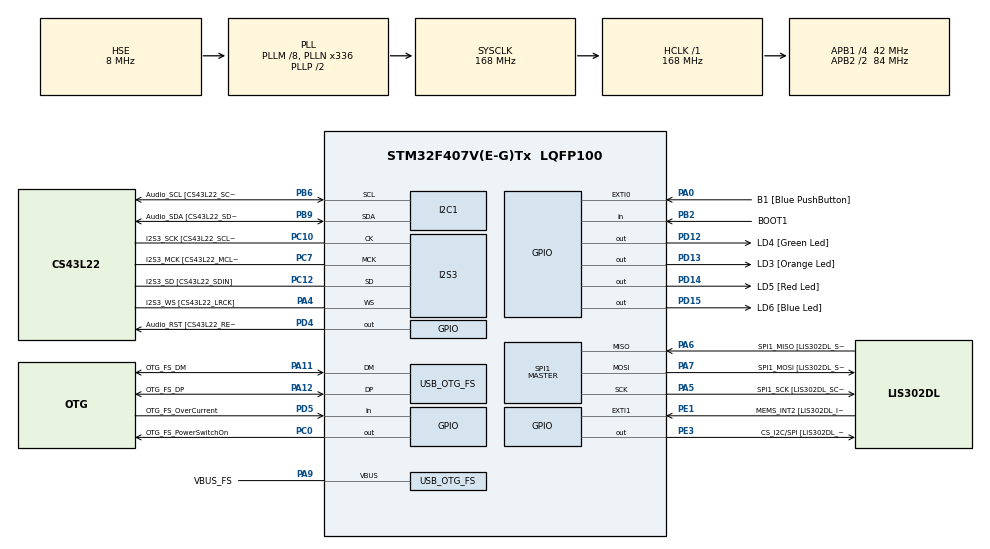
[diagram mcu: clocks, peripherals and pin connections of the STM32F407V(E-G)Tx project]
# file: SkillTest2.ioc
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I2S3.AudioFreq-Half_Duplex_Master=I2S_AUDIOFREQ_96K
I2S3.ErrorAudioFreq=-2.34 %
I2S3.ErrorAudioFreq-Half_Duplex_Master=0.8 %
I2S3.FullDuplexMode=I2S_FULLDUPLEXMODE_DISABLE
I2S3.Instance=SPI$Index
I2S3.RealAudioFreq=93.75 KHz
I2S3.RealAudioFreq-Half_Duplex_Master=96.774 KHz
I2S3.VirtualMode=I2S_MODE_MASTER
Mcu.Family=STM32F4
Mcu.Name=STM32F407V(E-G)Tx
Mcu.Package=LQFP100
NVIC.OTG_FS_IRQn=true\:0\:0\:false\:false\:true\:true\:true
NVIC.PriorityGroup=NVIC_PRIORITYGROUP_0
PA0-WKUP.GPIO_Label=B1 [Blue PushButton]
PA0-WKUP.GPIO_ModeDefaultEXTI=GPIO_MODE_EVT_RISING
PA0-WKUP.GPIO_PuPd=GPIO_NOPULL
PA0-WKUP.Signal=GPXTI0
PA10.GPIO_Label=OTG_FS_ID
PA10.GPIO_Mode=GPIO_MODE_AF_PP
PA10.GPIO_PuPd=GPIO_NOPULL
PA10.GPIO_Speed=GPIO_SPEED_FREQ_LOW
PA10.Signal=USB_OTG_FS_ID
PA11.GPIO_Label=OTG_FS_DM
PA11.GPIO_Mode=GPIO_MODE_AF_PP
PA11.GPIO_PuPd=GPIO_NOPULL
PA11.GPIO_Speed=GPIO_SPEED_FREQ_LOW
PA11.Mode=Host_Only
PA11.Signal=USB_OTG_FS_DM
PA12.GPIO_Label=OTG_FS_DP
PA12.GPIO_Mode=GPIO_MODE_AF_PP
PA12.GPIO_PuPd=GPIO_NOPULL
PA12.GPIO_Speed=GPIO_SPEED_FREQ_LOW
PA12.Mode=Host_Only
PA12.Signal=USB_OTG_FS_DP
PA13.GPIO_Label=SWDIO
PA13.Mode=Serial_Wire
PA13.Signal=SYS_JTMS-SWDIO
PA14.GPIO_Label=SWCLK
PA14.Mode=Serial_Wire
PA14.Signal=SYS_JTCK-SWCLK
PA4.GPIO_Label=I2S3_WS [CS43L22_LRCK]
PA4.GPIO_Mode=GPIO_MODE_AF_PP
PA4.GPIO_PuPd=GPIO_NOPULL
PA4.GPIO_Speed=GPIO_SPEED_FREQ_LOW
PA4.Mode=Half_Duplex_Master
PA4.Signal=I2S3_WS
PA5.GPIO_Label=SPI1_SCK [LIS302DL_SCL/SPC]
PA5.GPIO_Mode=GPIO_MODE_AF_PP
PA5.GPIO_PuPd=GPIO_NOPULL
PA5.GPIO_Speed=GPIO_SPEED_FREQ_LOW
PA5.Mode=Full_Duplex_Master
PA5.Signal=SPI1_SCK
PA6.GPIO_Label=SPI1_MISO [LIS302DL_SDO]
PA6.GPIO_Mode=GPIO_MODE_AF_PP
PA6.GPIO_PuPd=GPIO_NOPULL
PA6.GPIO_Speed=GPIO_SPEED_FREQ_LOW
PA6.Mode=Full_Duplex_Master
PA6.Signal=SPI1_MISO
PA7.GPIO_Label=SPI1_MOSI [LIS302DL_SDA/SDI/SDO]
PA7.GPIO_Mode=GPIO_MODE_AF_PP
PA7.GPIO_PuPd=GPIO_NOPULL
PA7.GPIO_Speed=GPIO_SPEED_FREQ_LOW
PA7.Mode=Full_Duplex_Master
PA7.Signal=SPI1_MOSI
PA9.GPIO_Label=VBUS_FS
PA9.GPIO_Mode=GPIO_MODE_INPUT
PA9.GPIO_PuPd=GPIO_NOPULL
PA9.Mode=Activate_VBUS
PA9.Signal=USB_OTG_FS_VBUS
PB10.GPIO_Label=CLK_IN [MP45DT02_CLK]
PB10.GPIO_Mode=GPIO_MODE_AF_PP
PB10.GPIO_PuPd=GPIO_NOPULL
PB10.GPIO_Speed=GPIO_SPEED_FREQ_LOW
PB10.Signal=I2S2_CK
PB2.GPIO_Label=BOOT1
PB2.GPIO_Mode=GPIO_MODE_INPUT
PB2.GPIO_PuPd=GPIO_NOPULL
PB2.Signal=GPIO_Input
PB3.GPIO_Label=SWO
PB3.Signal=SYS_JTDO-SWO
PB6.GPIO_Label=Audio_SCL [CS43L22_SCL]
PB6.GPIO_Mode=GPIO_MODE_AF_OD
PB6.GPIO_PuPd=GPIO_NOPULL
PB6.GPIO_Speed=GPIO_SPEED_FREQ_LOW
PB6.Mode=I2C
PB6.Signal=I2C1_SCL
PB9.GPIO_Label=Audio_SDA [CS43L22_SDA]
PB9.GPIO_Mode=GPIO_MODE_AF_OD
PB9.GPIO_PuPd=GPIO_NOPULL
PB9.GPIO_Speed=GPIO_SPEED_FREQ_LOW
PB9.Mode=I2C
PB9.Signal=I2C1_SDA
PC0.GPIO_Label=OTG_FS_PowerSwitchOn
PC0.GPIO_PuPd=GPIO_NOPULL
PC0.GPIO_Speed=GPIO_SPEED_FREQ_LOW
PC0.PinState=GPIO_PIN_SET
PC0.Signal=GPIO_Output
PC10.GPIO_Label=I2S3_SCK [CS43L22_SCLK]
PC10.GPIO_Mode=GPIO_MODE_AF_PP
PC10.GPIO_PuPd=GPIO_NOPULL
PC10.GPIO_Speed=GPIO_SPEED_FREQ_LOW
PC10.Mode=Half_Duplex_Master
PC10.Signal=I2S3_CK
PC12.GPIO_Label=I2S3_SD [CS43L22_SDIN]
PC12.GPIO_Mode=GPIO_MODE_AF_PP
PC12.GPIO_PuPd=GPIO_NOPULL
PC12.GPIO_Speed=GPIO_SPEED_FREQ_LOW
PC12.Mode=Half_Duplex_Master
PC12.Signal=I2S3_SD
PC14-OSC32_IN.GPIO_Label=PC14-OSC32_IN
PC14-OSC32_IN.Mode=LSE-External-Oscillator
PC14-OSC32_IN.Signal=RCC_OSC32_IN
PC15-OSC32_OUT.GPIO_Label=PC15-OSC32_OUT
PC15-OSC32_OUT.Mode=LSE-External-Oscillator
PC15-OSC32_OUT.Signal=RCC_OSC32_OUT
PC3.GPIO_Label=PDM_OUT [MP45DT02_DOUT]
PC3.GPIO_Mode=GPIO_MODE_AF_PP
PC3.GPIO_PuPd=GPIO_NOPULL
PC3.GPIO_Speed=GPIO_SPEED_FREQ_LOW
PC3.Signal=I2S2_SD
PC7.GPIO_Label=I2S3_MCK [CS43L22_MCLK]
PC7.GPIO_Mode=GPIO_MODE_AF_PP
PC7.GPIO_PuPd=GPIO_NOPULL
PC7.GPIO_Speed=GPIO_SPEED_FREQ_LOW
PC7.Mode=Master_Clock_Activated
PC7.Signal=I2S3_MCK
PD12.GPIO_Label=LD4 [Green Led]
PD12.GPIO_PuPd=GPIO_NOPULL
PD12.GPIO_Speed=GPIO_SPEED_FREQ_LOW
PD12.Signal=GPIO_Output
PD13.GPIO_Label=LD3 [Orange Led]
PD13.GPIO_PuPd=GPIO_NOPULL
PD13.GPIO_Speed=GPIO_SPEED_FREQ_LOW
PD13.Signal=GPIO_Output
PD14.GPIO_Label=LD5 [Red Led]
PD14.GPIO_PuPd=GPIO_NOPULL
PD14.GPIO_Speed=GPIO_SPEED_FREQ_LOW
PD14.Signal=GPIO_Output
PD15.GPIO_Label=LD6 [Blue Led]
PD15.GPIO_PuPd=GPIO_NOPULL
PD15.GPIO_Speed=GPIO_SPEED_FREQ_LOW
PD15.Signal=GPIO_Output
PD4.GPIO_Label=Audio_RST [CS43L22_RESET]
PD4.GPIO_PuPd=GPIO_NOPULL
PD4.GPIO_Speed=GPIO_SPEED_FREQ_LOW
PD4.Signal=GPIO_Output
PD5.GPIO_Label=OTG_FS_OverCurrent
PD5.GPIO_Mode=GPIO_MODE_INPUT
PD5.GPIO_PuPd=GPIO_NOPULL
PD5.Signal=GPIO_Input
PE1.GPIO_Label=MEMS_INT2 [LIS302DL_INT2]
PE1.GPIO_ModeDefaultEXTI=GPIO_MODE_EVT_RISING
PE1.GPIO_PuPd=GPIO_NOPULL
PE1.Signal=GPXTI1
PE3.GPIO_Label=CS_I2C/SPI [LIS302DL_CS_I2C/SPI]
PE3.GPIO_PuPd=GPIO_NOPULL
PE3.GPIO_Speed=GPIO_SPEED_FREQ_LOW
PE3.Signal=GPIO_Output
PH0-OSC_IN.GPIO_Label=PH0-OSC_IN
PH0-OSC_IN.Mode=HSE-External-Oscillator
PH0-OSC_IN.Signal=RCC_OSC_IN
PH1-OSC_OUT.GPIO_Label=PH1-OSC_OUT
PH1-OSC_OUT.Mode=HSE-External-Oscillator
PH1-OSC_OUT.Signal=RCC_OSC_OUT
ProjectManager.HeapSize=0x200
ProjectManager.StackSize=0x400
ProjectManager.TargetToolchain=STM32CubeIDE
RCC.48MHZClocksFreq_Value=48000000
RCC.AHBFreq_Value=168000000
RCC.APB1CLKDivider=RCC_HCLK_DIV4
RCC.APB1Freq_Value=42000000
RCC.APB1TimFreq_Value=84000000
RCC.APB2CLKDivider=RCC_HCLK_DIV2
RCC.APB2Freq_Value=84000000
RCC.APB2TimFreq_Value=168000000
RCC.CortexFreq_Value=168000000
RCC.HCLKFreq_Value=168000000
RCC.HSE_VALUE=8000000
RCC.HSI_VALUE=16000000
RCC.PLLM=8
RCC.PLLN=336
RCC.PLLQ=7
RCC.SYSCLKFreq_VALUE=168000000
RCC.SYSCLKSource=RCC_SYSCLKSOURCE_PLLCLK
RCC.VCOOutputFreq_Value=336000000
SPI1.BaudRatePrescaler-Full_Duplex_Master=SPI_BAUDRATEPRESCALER_2
SPI1.CalculateBaudRate-Full_Duplex_Master=42.0 MBits/s
SPI1.Direction=SPI_DIRECTION_2LINES
SPI1.Mode=SPI_MODE_MASTER
SPI1.Mode-Full_Duplex_Master=SPI_MODE_MASTER
SPI1.VirtualType=VM_MASTER
USB_HOST.BSP.number=1
USB_HOST.USBH_HandleTypeDef-CDC_FS=hUsbHostFS
USB_HOST.VirtualModeFS=Cdc
USB_HOST0.BSP.STBoard=false
USB_HOST0.BSP.api=Unknown
USB_HOST0.BSP.i2caddr=0
USB_HOST0.BSP.i2creg=0
USB_HOST0.BSP.instance=PC0
USB_HOST0.BSP.ip=GPIO
USB_HOST0.BSP.mode=Output
USB_HOST0.BSP.name=Drive_VBUS_FS
USB_HOST0.BSP.solution=PC0
USB_OTG_FS.VirtualMode=Host_Only
USB_OTG_FS.phy_itface=HCD_PHY_EMBEDDED
VP_USB_HOST_VS_USB_HOST_CDC_FS.Mode=CDC_FS
board=STM32F4DISCOVERY

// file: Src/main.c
/* USER CODE BEGIN Header */
/**
  ******************************************************************************
  * @file           : main.c
  * @brief          : Main program body
  ******************************************************************************
  * @attention
  *
  * <h2><center>&copy; Copyright (c) 2019 STMicroelectronics.
  * All rights reserved.</center></h2>
  *
  * This software component is licensed by ST under Ultimate Liberty license
  * SLA0044, the "License"; You may not use this file except in compliance with
  * the License. You may obtain a copy of the License at:
  *                             www.st.com/SLA0044
  *
  ******************************************************************************
  */
/* USER CODE END Header */

#include "main.h"
#include "usb_host.h"

I2C_HandleTypeDef hi2c1;

I2S_HandleTypeDef hi2s3;

SPI_HandleTypeDef hspi1;

void SystemClock_Config(void);
static void MX_GPIO_Init(void);
static void MX_I2C1_Init(void);
static void MX_I2S3_Init(void);
static void MX_SPI1_Init(void);
void MX_USB_HOST_Process(void);

int main(void)
{

  /* MCU Configuration--------------------------------------------------------*/

  /* Reset of all peripherals, Initializes the Flash interface and the Systick. */
  HAL_Init();

  /* Configure the system clock */
  SystemClock_Config();

  /* Initialize all configured peripherals */
  MX_GPIO_Init();
  MX_I2C1_Init();
  MX_I2S3_Init();
  MX_SPI1_Init();
  MX_USB_HOST_Init();
  /* USER CODE BEGIN 2 */
  int state = 0;
  int push = 0;
  int counter = 0;
  /* USER CODE END 2 */

  /* Infinite loop */
  while (1)
  {
    MX_USB_HOST_Process();

    /* USER CODE BEGIN 3 */
    if (!HAL_GPIO_ReadPin(GPIOA, GPIO_PIN_0) == HAL_OK) {
    	counter += 150;
		if (counter > 2000) {
//			state = 3;
			HAL_GPIO_WritePin(GPIOD, GPIO_PIN_12, 1);
			HAL_GPIO_WritePin(GPIOD, GPIO_PIN_13, 1);
			HAL_GPIO_WritePin(GPIOD, GPIO_PIN_14, 1);
			HAL_GPIO_WritePin(GPIOD, GPIO_PIN_15, 1);
			break;
		}
    } else {
    	counter = 0;
    }
    if (state == 0) {
    	HAL_GPIO_WritePin(GPIOD, GPIO_PIN_12, 1);
    	HAL_GPIO_WritePin(GPIOD, GPIO_PIN_13, 1);
    	HAL_GPIO_WritePin(GPIOD, GPIO_PIN_14, 1);
    	HAL_GPIO_WritePin(GPIOD, GPIO_PIN_15, 1);
    	HAL_Delay(50);
    	HAL_GPIO_WritePin(GPIOD, GPIO_PIN_12, 0);
    	HAL_GPIO_WritePin(GPIOD, GPIO_PIN_13, 0);
    	HAL_GPIO_WritePin(GPIOD, GPIO_PIN_14, 0);
    	HAL_GPIO_WritePin(GPIOD, GPIO_PIN_15, 0);
    	HAL_Delay(100);
    	if (HAL_GPIO_ReadPin(GPIOA, GPIO_PIN_0) == HAL_OK && !push) {
    		push = 1;
    	}
    	if (!HAL_GPIO_ReadPin(GPIOA, GPIO_PIN_0) == HAL_OK && push) {
    		push = 0;
    		state = 1;
    	}
    } else if (state == 1) {
    	HAL_GPIO_WritePin(GPIOD, GPIO_PIN_12, 1);
    	HAL_GPIO_WritePin(GPIOD, GPIO_PIN_13, 1);
    	HAL_GPIO_WritePin(GPIOD, GPIO_PIN_14, 1);
    	HAL_GPIO_WritePin(GPIOD, GPIO_PIN_15, 1);
    	HAL_Delay(100);
    	HAL_GPIO_WritePin(GPIOD, GPIO_PIN_12, 0);
    	HAL_GPIO_WritePin(GPIOD, GPIO_PIN_13, 0);
    	HAL_GPIO_WritePin(GPIOD, GPIO_PIN_14, 0);
    	HAL_GPIO_WritePin(GPIOD, GPIO_PIN_15, 0);
    	HAL_Delay(50);
    	if (HAL_GPIO_ReadPin(GPIOA, GPIO_PIN_0) == HAL_OK && !push) {
    	 	push = 1;
       	}
  	   	if (!HAL_GPIO_ReadPin(GPIOA, GPIO_PIN_0) == HAL_OK && push) {
    		push = 0;
     		state = 0;
     	}
    }
  }
  /* USER CODE END 3 */
}

void SystemClock_Config(void)
{
  RCC_OscInitTypeDef RCC_OscInitStruct = {0};
  RCC_ClkInitTypeDef RCC_ClkInitStruct = {0};
  RCC_PeriphCLKInitTypeDef PeriphClkInitStruct = {0};

  /** Configure the main internal regulator output voltage
  */
  __HAL_RCC_PWR_CLK_ENABLE();
  __HAL_PWR_VOLTAGESCALING_CONFIG(PWR_REGULATOR_VOLTAGE_SCALE1);
  /** Initializes the CPU, AHB and APB busses clocks
  */
  RCC_OscInitStruct.OscillatorType = RCC_OSCILLATORTYPE_HSE;
  RCC_OscInitStruct.HSEState = RCC_HSE_ON;
  RCC_OscInitStruct.PLL.PLLState = RCC_PLL_ON;
  RCC_OscInitStruct.PLL.PLLSource = RCC_PLLSOURCE_HSE;
  RCC_OscInitStruct.PLL.PLLM = 8;
  RCC_OscInitStruct.PLL.PLLN = 336;
  RCC_OscInitStruct.PLL.PLLP = RCC_PLLP_DIV2;
  RCC_OscInitStruct.PLL.PLLQ = 7;
  if (HAL_RCC_OscConfig(&RCC_OscInitStruct) != HAL_OK)
  {
    Error_Handler();
  }
  /** Initializes the CPU, AHB and APB busses clocks
  */
  RCC_ClkInitStruct.ClockType = RCC_CLOCKTYPE_HCLK|RCC_CLOCKTYPE_SYSCLK
                              |RCC_CLOCKTYPE_PCLK1|RCC_CLOCKTYPE_PCLK2;
  RCC_ClkInitStruct.SYSCLKSource = RCC_SYSCLKSOURCE_PLLCLK;
  RCC_ClkInitStruct.AHBCLKDivider = RCC_SYSCLK_DIV1;
  RCC_ClkInitStruct.APB1CLKDivider = RCC_HCLK_DIV4;
  RCC_ClkInitStruct.APB2CLKDivider = RCC_HCLK_DIV2;

  if (HAL_RCC_ClockConfig(&RCC_ClkInitStruct, FLASH_LATENCY_5) != HAL_OK)
  {
    Error_Handler();
  }
  PeriphClkInitStruct.PeriphClockSelection = RCC_PERIPHCLK_I2S;
  PeriphClkInitStruct.PLLI2S.PLLI2SN = 192;
  PeriphClkInitStruct.PLLI2S.PLLI2SR = 2;
  if (HAL_RCCEx_PeriphCLKConfig(&PeriphClkInitStruct) != HAL_OK)
  {
    Error_Handler();
  }
}

static void MX_I2C1_Init(void)
{

  hi2c1.Instance = I2C1;
  hi2c1.Init.ClockSpeed = 100000;
  hi2c1.Init.DutyCycle = I2C_DUTYCYCLE_2;
  hi2c1.Init.OwnAddress1 = 0;
  hi2c1.Init.AddressingMode = I2C_ADDRESSINGMODE_7BIT;
  hi2c1.Init.DualAddressMode = I2C_DUALADDRESS_DISABLE;
  hi2c1.Init.OwnAddress2 = 0;
  hi2c1.Init.GeneralCallMode = I2C_GENERALCALL_DISABLE;
  hi2c1.Init.NoStretchMode = I2C_NOSTRETCH_DISABLE;
  if (HAL_I2C_Init(&hi2c1) != HAL_OK)
  {
    Error_Handler();
  }

}

static void MX_I2S3_Init(void)
{

  hi2s3.Instance = SPI3;
  hi2s3.Init.Mode = I2S_MODE_MASTER_TX;
  hi2s3.Init.Standard = I2S_STANDARD_PHILIPS;
  hi2s3.Init.DataFormat = I2S_DATAFORMAT_16B;
  hi2s3.Init.MCLKOutput = I2S_MCLKOUTPUT_ENABLE;
  hi2s3.Init.AudioFreq = I2S_AUDIOFREQ_96K;
  hi2s3.Init.CPOL = I2S_CPOL_LOW;
  hi2s3.Init.ClockSource = I2S_CLOCK_PLL;
  hi2s3.Init.FullDuplexMode = I2S_FULLDUPLEXMODE_DISABLE;
  if (HAL_I2S_Init(&hi2s3) != HAL_OK)
  {
    Error_Handler();
  }

}

static void MX_SPI1_Init(void)
{

  /* SPI1 parameter configuration*/
  hspi1.Instance = SPI1;
  hspi1.Init.Mode = SPI_MODE_MASTER;
  hspi1.Init.Direction = SPI_DIRECTION_2LINES;
  hspi1.Init.DataSize = SPI_DATASIZE_8BIT;
  hspi1.Init.CLKPolarity = SPI_POLARITY_LOW;
  hspi1.Init.CLKPhase = SPI_PHASE_1EDGE;
  hspi1.Init.NSS = SPI_NSS_SOFT;
  hspi1.Init.BaudRatePrescaler = SPI_BAUDRATEPRESCALER_2;
  hspi1.Init.FirstBit = SPI_FIRSTBIT_MSB;
  hspi1.Init.TIMode = SPI_TIMODE_DISABLE;
  hspi1.Init.CRCCalculation = SPI_CRCCALCULATION_DISABLE;
  hspi1.Init.CRCPolynomial = 10;
  if (HAL_SPI_Init(&hspi1) != HAL_OK)
  {
    Error_Handler();
  }

}

static void MX_GPIO_Init(void)
{
  GPIO_InitTypeDef GPIO_InitStruct = {0};

  /* GPIO Ports Clock Enable */
  __HAL_RCC_GPIOE_CLK_ENABLE();
  __HAL_RCC_GPIOC_CLK_ENABLE();
  __HAL_RCC_GPIOH_CLK_ENABLE();
  __HAL_RCC_GPIOA_CLK_ENABLE();
  __HAL_RCC_GPIOB_CLK_ENABLE();
  __HAL_RCC_GPIOD_CLK_ENABLE();

  /*Configure GPIO pin Output Level */
  HAL_GPIO_WritePin(CS_I2C_SPI_GPIO_Port, CS_I2C_SPI_Pin, GPIO_PIN_RESET);

  /*Configure GPIO pin Output Level */
  HAL_GPIO_WritePin(OTG_FS_PowerSwitchOn_GPIO_Port, OTG_FS_PowerSwitchOn_Pin, GPIO_PIN_SET);

  /*Configure GPIO pin Output Level */
  HAL_GPIO_WritePin(GPIOD, LD4_Pin|LD3_Pin|LD5_Pin|LD6_Pin
                          |Audio_RST_Pin, GPIO_PIN_RESET);

  /*Configure GPIO pin : CS_I2C_SPI_Pin */
  GPIO_InitStruct.Pin = CS_I2C_SPI_Pin;
  GPIO_InitStruct.Mode = GPIO_MODE_OUTPUT_PP;
  GPIO_InitStruct.Pull = GPIO_NOPULL;
  GPIO_InitStruct.Speed = GPIO_SPEED_FREQ_LOW;
  HAL_GPIO_Init(CS_I2C_SPI_GPIO_Port, &GPIO_InitStruct);

  /*Configure GPIO pin : OTG_FS_PowerSwitchOn_Pin */
  GPIO_InitStruct.Pin = OTG_FS_PowerSwitchOn_Pin;
  GPIO_InitStruct.Mode = GPIO_MODE_OUTPUT_PP;
  GPIO_InitStruct.Pull = GPIO_NOPULL;
  GPIO_InitStruct.Speed = GPIO_SPEED_FREQ_LOW;
  HAL_GPIO_Init(OTG_FS_PowerSwitchOn_GPIO_Port, &GPIO_InitStruct);

  /*Configure GPIO pin : PDM_OUT_Pin */
  GPIO_InitStruct.Pin = PDM_OUT_Pin;
  GPIO_InitStruct.Mode = GPIO_MODE_AF_PP;
  GPIO_InitStruct.Pull = GPIO_NOPULL;
  GPIO_InitStruct.Speed = GPIO_SPEED_FREQ_LOW;
  GPIO_InitStruct.Alternate = GPIO_AF5_SPI2;
  HAL_GPIO_Init(PDM_OUT_GPIO_Port, &GPIO_InitStruct);

  /*Configure GPIO pin : B1_Pin */
  GPIO_InitStruct.Pin = B1_Pin;
  GPIO_InitStruct.Mode = GPIO_MODE_EVT_RISING;
  GPIO_InitStruct.Pull = GPIO_NOPULL;
  HAL_GPIO_Init(B1_GPIO_Port, &GPIO_InitStruct);

  /*Configure GPIO pin : BOOT1_Pin */
  GPIO_InitStruct.Pin = BOOT1_Pin;
  GPIO_InitStruct.Mode = GPIO_MODE_INPUT;
  GPIO_InitStruct.Pull = GPIO_NOPULL;
  HAL_GPIO_Init(BOOT1_GPIO_Port, &GPIO_InitStruct);

  /*Configure GPIO pin : CLK_IN_Pin */
  GPIO_InitStruct.Pin = CLK_IN_Pin;
  GPIO_InitStruct.Mode = GPIO_MODE_AF_PP;
  GPIO_InitStruct.Pull = GPIO_NOPULL;
  GPIO_InitStruct.Speed = GPIO_SPEED_FREQ_LOW;
  GPIO_InitStruct.Alternate = GPIO_AF5_SPI2;
  HAL_GPIO_Init(CLK_IN_GPIO_Port, &GPIO_InitStruct);

  /*Configure GPIO pins : LD4_Pin LD3_Pin LD5_Pin LD6_Pin
                           Audio_RST_Pin */
  GPIO_InitStruct.Pin = LD4_Pin|LD3_Pin|LD5_Pin|LD6_Pin
                          |Audio_RST_Pin;
  GPIO_InitStruct.Mode = GPIO_MODE_OUTPUT_PP;
  GPIO_InitStruct.Pull = GPIO_NOPULL;
  GPIO_InitStruct.Speed = GPIO_SPEED_FREQ_LOW;
  HAL_GPIO_Init(GPIOD, &GPIO_InitStruct);

  /*Configure GPIO pin : OTG_FS_OverCurrent_Pin */
  GPIO_InitStruct.Pin = OTG_FS_OverCurrent_Pin;
  GPIO_InitStruct.Mode = GPIO_MODE_INPUT;
  GPIO_InitStruct.Pull = GPIO_NOPULL;
  HAL_GPIO_Init(OTG_FS_OverCurrent_GPIO_Port, &GPIO_InitStruct);

  /*Configure GPIO pin : MEMS_INT2_Pin */
  GPIO_InitStruct.Pin = MEMS_INT2_Pin;
  GPIO_InitStruct.Mode = GPIO_MODE_EVT_RISING;
  GPIO_InitStruct.Pull = GPIO_NOPULL;
  HAL_GPIO_Init(MEMS_INT2_GPIO_Port, &GPIO_InitStruct);

}

void Error_Handler(void)
{
}

/************************ (C) COPYRIGHT STMicroelectronics *****END OF FILE****/
